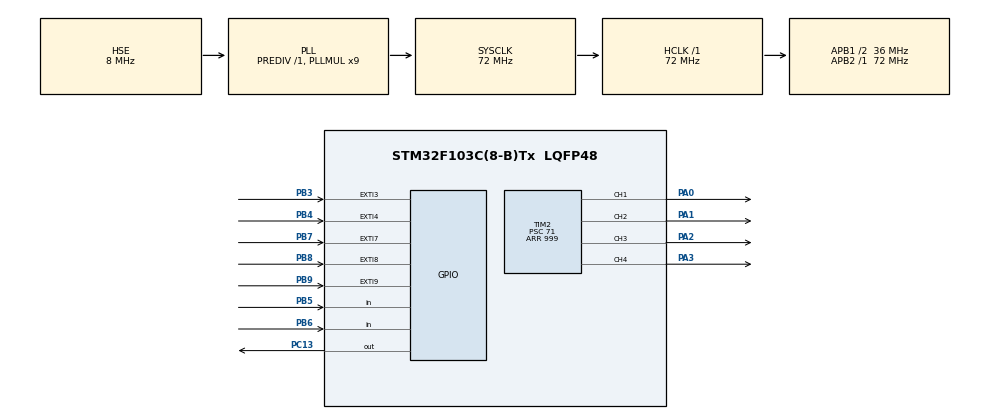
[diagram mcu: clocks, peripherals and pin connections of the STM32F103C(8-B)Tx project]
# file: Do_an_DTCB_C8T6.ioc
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Mcu.Family=STM32F1
Mcu.Name=STM32F103C(8-B)Tx
Mcu.Package=LQFP48
NVIC.EXTI3_IRQn=true\:2\:0\:true\:false\:true\:true\:true\:true
NVIC.EXTI4_IRQn=true\:2\:0\:true\:false\:true\:true\:true\:true
NVIC.EXTI9_5_IRQn=true\:2\:0\:true\:false\:true\:true\:true\:true
NVIC.PriorityGroup=NVIC_PRIORITYGROUP_4
PA0-WKUP.Signal=S_TIM2_CH1_ETR
PA1.Signal=S_TIM2_CH2
PA13.Mode=Serial_Wire
PA13.Signal=SYS_JTMS-SWDIO
PA14.Mode=Serial_Wire
PA14.Signal=SYS_JTCK-SWCLK
PA2.Signal=S_TIM2_CH3
PA3.Signal=S_TIM2_CH4
PB3.GPIO_ModeDefaultEXTI=GPIO_MODE_IT_FALLING
PB3.GPIO_PuPd=GPIO_PULLUP
PB3.Signal=GPXTI3
PB4.GPIO_ModeDefaultEXTI=GPIO_MODE_IT_FALLING
PB4.GPIO_PuPd=GPIO_PULLUP
PB4.Signal=GPXTI4
PB5.GPIO_PuPd=GPIO_PULLUP
PB5.Signal=GPIO_Input
PB6.GPIO_PuPd=GPIO_PULLUP
PB6.Signal=GPIO_Input
PB7.GPIO_ModeDefaultEXTI=GPIO_MODE_IT_FALLING
PB7.GPIO_PuPd=GPIO_PULLUP
PB7.Signal=GPXTI7
PB8.GPIO_ModeDefaultEXTI=GPIO_MODE_IT_FALLING
PB8.GPIO_PuPd=GPIO_PULLUP
PB8.Signal=GPXTI8
PB9.GPIO_ModeDefaultEXTI=GPIO_MODE_IT_FALLING
PB9.GPIO_PuPd=GPIO_PULLUP
PB9.Signal=GPXTI9
PC13-TAMPER-RTC.Signal=GPIO_Output
PD0-OSC_IN.Mode=HSE-External-Oscillator
PD0-OSC_IN.Signal=RCC_OSC_IN
PD1-OSC_OUT.Mode=HSE-External-Oscillator
PD1-OSC_OUT.Signal=RCC_OSC_OUT
ProjectManager.HeapSize=0x200
ProjectManager.StackSize=0x400
ProjectManager.TargetToolchain=MDK-ARM V5
RCC.AHBFreq_Value=72000000
RCC.APB1CLKDivider=RCC_HCLK_DIV2
RCC.APB1Freq_Value=36000000
RCC.APB1TimFreq_Value=72000000
RCC.APB2Freq_Value=72000000
RCC.APB2TimFreq_Value=72000000
RCC.HCLKFreq_Value=72000000
RCC.PLLMUL=RCC_PLL_MUL9
RCC.PLLSourceVirtual=RCC_PLLSOURCE_HSE
RCC.SYSCLKFreq_VALUE=72000000
RCC.SYSCLKSource=RCC_SYSCLKSOURCE_PLLCLK
RCC.USBFreq_Value=72000000
SH.S_TIM2_CH1_ETR.0=TIM2_CH1,PWM Generation1 CH1
SH.S_TIM2_CH2.0=TIM2_CH2,PWM Generation2 CH2
SH.S_TIM2_CH3.0=TIM2_CH3,PWM Generation3 CH3
SH.S_TIM2_CH4.0=TIM2_CH4,PWM Generation4 CH4
TIM1.Prescaler=71
TIM2.Channel-PWM\ Generation1\ CH1=TIM_CHANNEL_1
TIM2.Channel-PWM\ Generation2\ CH2=TIM_CHANNEL_2
TIM2.Channel-PWM\ Generation3\ CH3=TIM_CHANNEL_3
TIM2.Channel-PWM\ Generation4\ CH4=TIM_CHANNEL_4
TIM2.Period=999
TIM2.Prescaler=71
VP_TIM1_VS_ClockSourceINT.Mode=Internal
VP_TIM2_VS_ClockSourceINT.Mode=Internal
board=custom

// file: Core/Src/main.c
/* USER CODE BEGIN Header */
/**
  ******************************************************************************
  * @file           : main.c
  * @brief          : Main program body
  ******************************************************************************
  * @attention
  *
  * Copyright (c) 2023 STMicroelectronics.
  * All rights reserved.
  *
  * This software is licensed under terms that can be found in the LICENSE file
  * in the root directory of this software component.
  * If no LICENSE file comes with this software, it is provided AS-IS.
  *
  ******************************************************************************
  */
/* USER CODE END Header */
#include "main.h"
#include "tim.h"
#include "gpio.h"

/* USER CODE BEGIN Includes */
#include "stepper_motor.h"
#include "Button.h"
/* USER CODE END Includes */

/* USER CODE BEGIN PTD */
typedef enum
{
	init,
	stop,
	start
} system_state_t;

typedef enum
{
	init_,
	wave_step,
	full_step,
	half_step
} stepper_motor_sys_t;

/* USER CODE END PTD */

/* USER CODE BEGIN PV */

// Khai bao doi tuong STEPPER MOTOR
stepper_motor_t stepper_1;

// Khai bao toc do mac dinh
uint16_t speed = 4;

// Khai bao cac nut nhan cho che do Polling
Button_Typdef nut3, nut4;

// Khai tao trang thai mac dinh cua toan he thong: init, stop, start
system_state_t sys_state = init;

// Khai bao trang thai cua 3 che do: Wave, Full, Half
stepper_motor_sys_t stepper_state;

// Khoi tao bien giu chieu quay cua Stepper Motor
uint8_t dir = 0;

// Khoi tao bien giu chieu cua toc do
uint8_t speed_sign = 1;

/* USER CODE END PV */

void SystemClock_Config(void);

/* USER CODE BEGIN 0 */

// ----------- Xu li nut nhan bang P.P Interrupt cho cac che do ------------- //
void HAL_GPIO_EXTI_Callback(uint16_t GPIO_Pin)
{

	switch (GPIO_Pin)
	{
		case GPIO_PIN_3:
		{
			sys_state = stop;
			break;
		}
		case GPIO_PIN_4:
		{
			if (sys_state == stop)
			{
				sys_state = start;
			}
			break;
		}
		case GPIO_PIN_7:
		{
			if (sys_state == stop)
			{
				stepper_state = wave_step;
			}
			break;
		}
		case GPIO_PIN_8:
		{
			if (sys_state == stop)
			{
				stepper_state = full_step;
			}
			break;
		}
		case GPIO_PIN_9:
		{
			if (sys_state == stop)
			{
				stepper_state = half_step;
			}
			break;
		}
	}
}

// ----------------------------------------------------------------- //

// ------------Xu li phim nhan bang P.P polling -------------------- //
void	btn_pressing_callback(Button_Typdef *ButtonX)
{
	if (ButtonX == &nut3)
	{
		if (sys_state == stop)
		{
			dir =!dir;
		}
	}
	if (ButtonX == &nut4)
	{
		if (sys_state == stop)
		{
			speed_sign = !speed_sign;
			if (speed_sign)
			{
				speed = 4;
			}
			else
			{
				speed = 1;
			}
		}
	}
}
// ----------------------------------------------------------------- //

/* USER CODE END 0 */

int main(void)
{

  /* MCU Configuration--------------------------------------------------------*/

  /* Reset of all peripherals, Initializes the Flash interface and the Systick. */
  HAL_Init();

  /* Configure the system clock */
  SystemClock_Config();

  /* Initialize all configured peripherals */
  MX_GPIO_Init();
  MX_TIM2_Init();
  MX_TIM1_Init();
  /* USER CODE BEGIN 2 */

	// Khoi tao STEPPER MOTOR
	stepper_init(&stepper_1, &htim2, TIM_CHANNEL_1, TIM_CHANNEL_2, TIM_CHANNEL_3, TIM_CHANNEL_4);
	// Khoi tao nut nhan DIR, SPEED
	button_init(&nut3, GPIOB, GPIO_PIN_5);
	button_init(&nut4, GPIOB, GPIO_PIN_6);
	// Khoi tao trang thai mac dinh
	sys_state = stop;
	stepper_state = init_;

  /* USER CODE END 2 */

  /* Infinite loop */
  while (1)
  {

    /* USER CODE BEGIN 3 */

		// Thuc thi cac che do tuong ung Wave, Full, Half
		if (sys_state == start && stepper_state == wave_step)
		{
			stepper_wave_step_mode(&stepper_1, (stepper_dir_t)dir, speed); // 3
		}
		else if (sys_state == start && stepper_state == full_step)
		{
			stepper_full_step_mode(&stepper_1, (stepper_dir_t)dir, speed);	// 1
		}
		else if (sys_state == start && stepper_state == half_step)
		{
			stepper_half_step_mode(&stepper_1, (stepper_dir_t)dir, 8 + speed);
		}

		// Polling nut nhan DIR, SPEED
		button_handle(&nut3);
		button_handle(&nut4);
  }
  /* USER CODE END 3 */
}

void SystemClock_Config(void)
{
  RCC_OscInitTypeDef RCC_OscInitStruct = {0};
  RCC_ClkInitTypeDef RCC_ClkInitStruct = {0};

  /** Initializes the RCC Oscillators according to the specified parameters
  * in the RCC_OscInitTypeDef structure.
  */
  RCC_OscInitStruct.OscillatorType = RCC_OSCILLATORTYPE_HSE;
  RCC_OscInitStruct.HSEState = RCC_HSE_ON;
  RCC_OscInitStruct.HSEPredivValue = RCC_HSE_PREDIV_DIV1;
  RCC_OscInitStruct.HSIState = RCC_HSI_ON;
  RCC_OscInitStruct.PLL.PLLState = RCC_PLL_ON;
  RCC_OscInitStruct.PLL.PLLSource = RCC_PLLSOURCE_HSE;
  RCC_OscInitStruct.PLL.PLLMUL = RCC_PLL_MUL9;
  if (HAL_RCC_OscConfig(&RCC_OscInitStruct) != HAL_OK)
  {
    Error_Handler();
  }

  /** Initializes the CPU, AHB and APB buses clocks
  */
  RCC_ClkInitStruct.ClockType = RCC_CLOCKTYPE_HCLK|RCC_CLOCKTYPE_SYSCLK
                              |RCC_CLOCKTYPE_PCLK1|RCC_CLOCKTYPE_PCLK2;
  RCC_ClkInitStruct.SYSCLKSource = RCC_SYSCLKSOURCE_PLLCLK;
  RCC_ClkInitStruct.AHBCLKDivider = RCC_SYSCLK_DIV1;
  RCC_ClkInitStruct.APB1CLKDivider = RCC_HCLK_DIV2;
  RCC_ClkInitStruct.APB2CLKDivider = RCC_HCLK_DIV1;

  if (HAL_RCC_ClockConfig(&RCC_ClkInitStruct, FLASH_LATENCY_2) != HAL_OK)
  {
    Error_Handler();
  }
}

void Error_Handler(void)
{
  __disable_irq();
  while (1)
  {
  }
}
